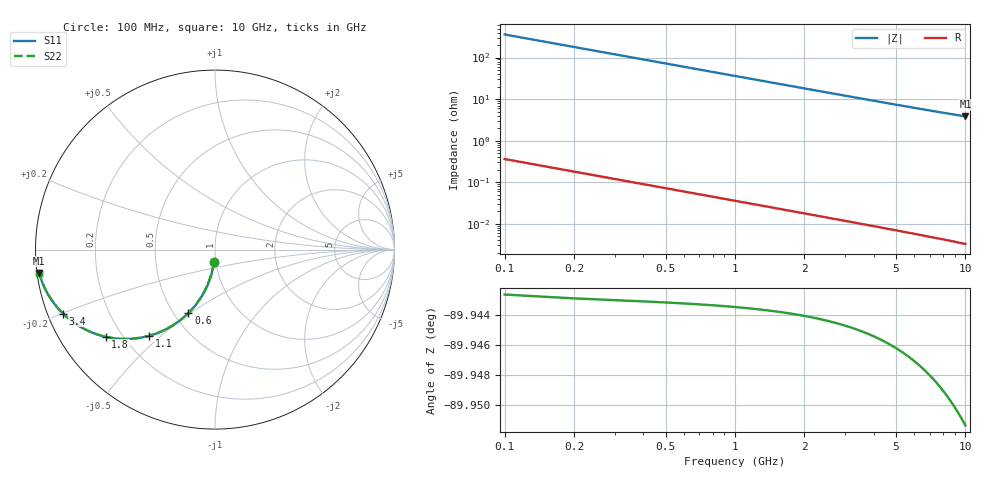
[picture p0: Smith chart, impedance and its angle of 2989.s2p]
# Hz S RI R 50.00
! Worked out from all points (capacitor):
!   100 points, 100 MHz to 10 GHz, reference 50 ohm
!   read as one part in shunt: C = 4.42 pF near 100 MHz
!   lowest |Z| = 3.83 ohm at 10 GHz (marker M1)
!   S11 on the Smith chart (normalised r, x): 100 MHz: 0.98, -0.14; 600 MHz: 0.59, -0.49; 1.1 GHz: 0.30, -0.46; 1.8 GHz: 0.14, -0.34; 3.4 GHz: 0.04, -0.20; 10 GHz: 0.01, -0.07
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1e8  -0.00485 -0.069  0.9951 -0.0692  0.9951 -0.0692  -0.00485 -0.069
2e8  -0.0191 -0.1361  0.9809 -0.1365  0.9809 -0.1365  -0.0191 -0.1361
3e8  -0.0418 -0.1994  0.9582 -0.1999  0.9582 -0.1999  -0.0418 -0.1994
4e8  -0.0719 -0.2574  0.9281 -0.2582  0.9281 -0.2582  -0.0719 -0.2574
5e8  -0.1078 -0.3092  0.8921 -0.3102  0.8921 -0.3102  -0.1078 -0.3092
6e8  -0.1482 -0.3542  0.8518 -0.3554  0.8518 -0.3554  -0.1482 -0.3542
7e8  -0.1913 -0.3922  0.8086 -0.3935  0.8086 -0.3935  -0.1913 -0.3922
8e8  -0.236 -0.4233  0.764 -0.4249  0.764 -0.4249  -0.236 -0.4233
9e8  -0.2809 -0.4481  0.719 -0.4498  0.719 -0.4498  -0.2809 -0.4481
1.1e9  -0.3683 -0.4808  0.6316 -0.4829  0.6316 -0.4829  -0.3683 -0.4808
1.4e9  -0.4854 -0.4979  0.5145 -0.5006  0.5145 -0.5006  -0.4854 -0.4979
1.6e9  -0.5518 -0.4953  0.4482 -0.4984  0.4482 -0.4984  -0.5518 -0.4953
1.8e9  -0.6089 -0.4857  0.3911 -0.4892  0.3911 -0.4892  -0.6089 -0.4857
2.1e9  -0.6792 -0.4642  0.3208 -0.4683  0.3208 -0.4683  -0.6792 -0.4642
2.5e9  -0.7498 -0.4302  0.2502 -0.4351  0.2502 -0.4351  -0.7498 -0.4302
2.9e9  -0.8011 -0.3958  0.1989 -0.4015  0.1989 -0.4015  -0.8011 -0.3958
3.4e9  -0.8468 -0.3563  0.1531 -0.3629  0.1531 -0.3629  -0.8468 -0.3563
4.2e9  -0.8939 -0.3032  0.106 -0.3115  0.106 -0.3115  -0.8939 -0.3032
5.1e9  -0.9255 -0.2569  0.0744 -0.2671  0.0744 -0.2671  -0.9255 -0.2569
6.7e9  -0.9555 -0.1988  0.0444 -0.2123  0.0444 -0.2123  -0.9555 -0.1988
8.4e9  -0.9714 -0.1574  0.0284 -0.1745  0.0284 -0.1745  -0.9714 -0.1574
1e10  -0.9797 -0.1296  0.02 -0.1502  0.02 -0.1502  -0.9797 -0.1296
